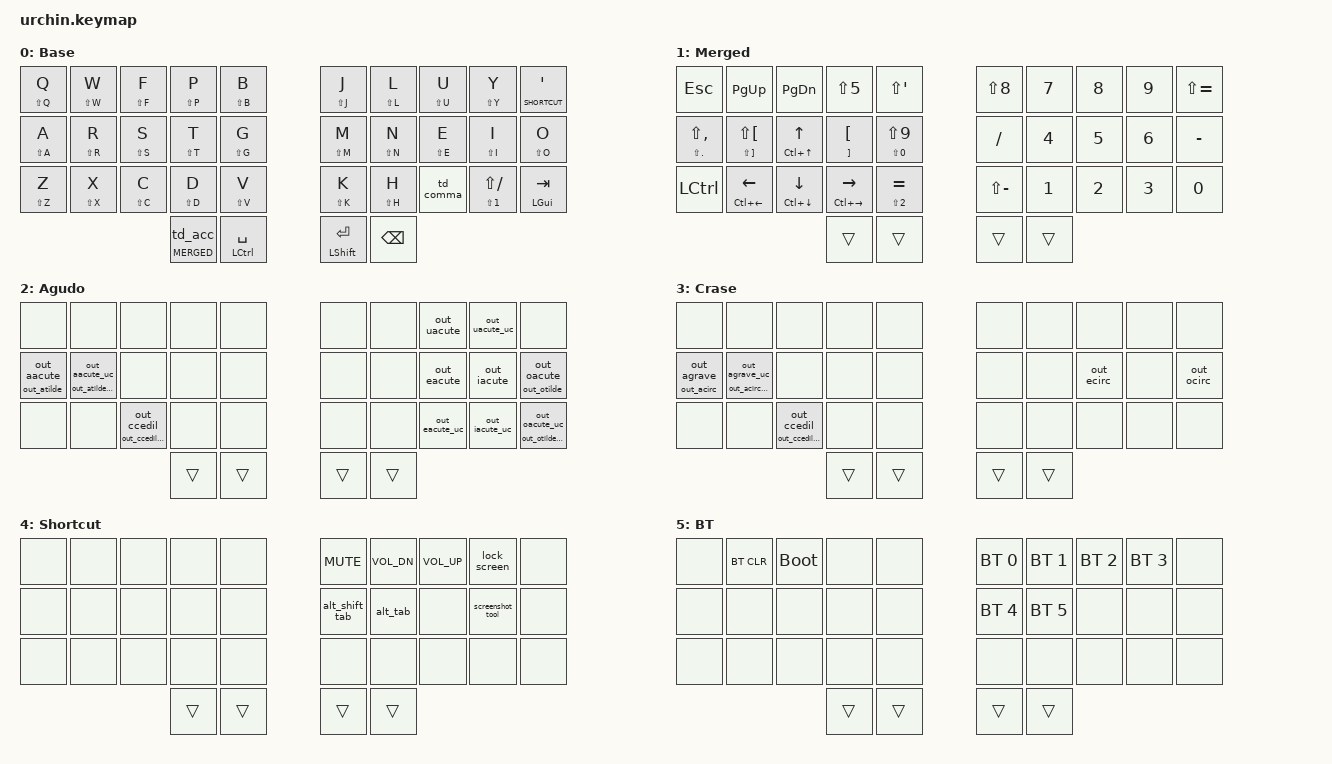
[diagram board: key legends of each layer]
/*
 * Urchin 34-key ZMK keymap (revised)
 * ============================================================
 *
 * Base layout : Colemak-DH
 * Host OS     : Windows
 * Host layout : US-International
 * Language    : Portuguese (Brazil)
 *
 * Layers
 * ------
 * 0  BASE       Colemak-DH alphas
 * 1  MERGED     Nav + Numpad + Symbols (hold left outer thumb)
 * 2  ACC_ACUTE  Agudo / Til          (tap left outer thumb once)
 * 3  ACC_GRAVE  Crase / Circunflexo  (tap left outer thumb twice)
 * 4  SHORTCUT   Media / App switch   (hold apostrophe)
 * 5  BT         Bluetooth settings   (both left thumbs combo)
 *
 * Thumb cluster
 * -------------
 * Left outer  : tap 1x → sticky ACC_ACUTE
 *               tap 2x → sticky ACC_GRAVE
 *               hold   → momentary Merged
 * Left inner  : tap → Space  | hold → Ctrl
 * Right inner : tap → Enter  | hold → Shift
 * Right outer : Backspace (plain, repeatable)
 *
 * Shortcut layer (hold apostrophe + key)
 * ---------------------------------------
 * ' + J  → Mute
 * ' + L  → Volume Down
 * ' + U  → Volume Up
 * ' + Y  → Lock Screen
 * ' + I  → Screenshot
 * ' + M  → Alt+Shift+Tab (app left)
 * ' + N  → Alt+Tab (app right)
 */

#include <behaviors.dtsi>
#include <dt-bindings/zmk/keys.h>
#include <dt-bindings/zmk/bt.h>

#define BASE      0
#define MERGED    1
#define ACC_ACUTE 2
#define ACC_GRAVE 3
#define SHORTCUT  4
#define BT        5

/ {

    behaviors {

        /* ---- Thumb behaviours ---- */

        /* Tap-dance for accent layers */
        td_acc: td_acc {
            compatible = "zmk,behavior-tap-dance";
            #binding-cells = <0>;
            tapping-term-ms = <220>;
            bindings = <&sl ACC_ACUTE>, <&sl ACC_GRAVE>;
        };

        /* Left outer thumb: hold → mo MERGED, tap → td_acc */
        thumb_layer_accent: thumb_layer_accent {
            compatible = "zmk,behavior-hold-tap";
            #binding-cells = <2>;
            flavor = "tap-preferred";
            tapping-term-ms = <220>;
            quick-tap-ms = <180>;
            bindings = <&mo>, <&td_acc>;
        };

        /* Generic kp hold-tap (thumbs, symbols, brackets, arrows) */
        sym_ht: sym_ht {
            compatible = "zmk,behavior-hold-tap";
            #binding-cells = <2>;
            flavor = "tap-preferred";
            tapping-term-ms = <220>;
            quick-tap-ms = <180>;
            bindings = <&kp>, <&kp>;
        };

        /* Tap-dance for comma: tap → comma/period ht, double-tap → semicolon */
        td_comma: td_comma {
            compatible = "zmk,behavior-tap-dance";
            #binding-cells = <0>;
            tapping-term-ms = <220>;
            bindings = <&sym_ht DOT COMMA>, <&kp SEMI>;
        };

        /* ---- Alpha hold-tap (260 ms) ---- */

        alpha_up: alpha_up {
            compatible = "zmk,behavior-hold-tap";
            #binding-cells = <2>;
            flavor = "tap-preferred";
            tapping-term-ms = <260>;
            quick-tap-ms = <180>;
            bindings = <&kp>, <&kp>;
        };

        /* ---- Accent-layer hold-taps (260 ms) ---- */

        /* ACC_ACUTE  A pos 10 : tap á  | hold ã */
        ht_a_agudo: ht_a_agudo {
            compatible = "zmk,behavior-hold-tap";
            #binding-cells = <2>;
            flavor = "tap-preferred";
            tapping-term-ms = <260>;
            quick-tap-ms = <180>;
            bindings = <&out_atilde>, <&out_aacute>;
        };

        /* ACC_ACUTE  R pos 11 : tap Á  | hold Ã */
        ht_a_agudo_uc: ht_a_agudo_uc {
            compatible = "zmk,behavior-hold-tap";
            #binding-cells = <2>;
            flavor = "tap-preferred";
            tapping-term-ms = <260>;
            quick-tap-ms = <180>;
            bindings = <&out_atilde_uc>, <&out_aacute_uc>;
        };

        /* ACC_ACUTE  O pos 19 : tap ó  | hold õ */
        ht_o_agudo: ht_o_agudo {
            compatible = "zmk,behavior-hold-tap";
            #binding-cells = <2>;
            flavor = "tap-preferred";
            tapping-term-ms = <260>;
            quick-tap-ms = <180>;
            bindings = <&out_otilde>, <&out_oacute>;
        };

        /* ACC_ACUTE  pos 29 : tap Ó  | hold Õ */
        ht_o_agudo_uc: ht_o_agudo_uc {
            compatible = "zmk,behavior-hold-tap";
            #binding-cells = <2>;
            flavor = "tap-preferred";
            tapping-term-ms = <260>;
            quick-tap-ms = <180>;
            bindings = <&out_otilde_uc>, <&out_oacute_uc>;
        };

        /* ACC_GRAVE  A pos 10 : tap à  | hold â */
        ht_a_crase: ht_a_crase {
            compatible = "zmk,behavior-hold-tap";
            #binding-cells = <2>;
            flavor = "tap-preferred";
            tapping-term-ms = <260>;
            quick-tap-ms = <180>;
            bindings = <&out_acirc>, <&out_agrave>;
        };

        /* ACC_GRAVE  R pos 11 : tap À  | hold Â */
        ht_a_crase_uc: ht_a_crase_uc {
            compatible = "zmk,behavior-hold-tap";
            #binding-cells = <2>;
            flavor = "tap-preferred";
            tapping-term-ms = <260>;
            quick-tap-ms = <180>;
            bindings = <&out_acirc_uc>, <&out_agrave_uc>;
        };

        /* Both accent layers  C : tap ç  | hold Ç */
        ht_c_cedil: ht_c_cedil {
            compatible = "zmk,behavior-hold-tap";
            #binding-cells = <2>;
            flavor = "tap-preferred";
            tapping-term-ms = <260>;
            quick-tap-ms = <180>;
            bindings = <&out_ccedil_uc>, <&out_ccedil>;
        };
    };

    /* ============================================================
     *  MACROS
     * ============================================================ */
    macros {

        /* ---- Utility ---- */

        screenshot_tool: screenshot_tool {
            compatible = "zmk,behavior-macro";
            #binding-cells = <0>;
            wait-ms = <20>;
            tap-ms = <20>;
            bindings
                = <&macro_press &kp LGUI>
                , <&macro_press &kp LSHIFT>
                , <&macro_tap &kp S>
                , <&macro_release &kp LSHIFT>
                , <&macro_release &kp LGUI>
                ;
        };

        lock_screen: lock_screen {
            compatible = "zmk,behavior-macro";
            #binding-cells = <0>;
            wait-ms = <20>;
            tap-ms = <20>;
            bindings
                = <&macro_press &kp LGUI>
                , <&macro_tap &kp L>
                , <&macro_release &kp LGUI>
                ;
        };

        alt_tab: alt_tab {
            compatible = "zmk,behavior-macro";
            #binding-cells = <0>;
            wait-ms = <20>;
            tap-ms = <20>;
            bindings
                = <&macro_press &kp LALT>
                , <&macro_tap &kp TAB>
                , <&macro_release &kp LALT>
                ;
        };

        alt_shift_tab: alt_shift_tab {
            compatible = "zmk,behavior-macro";
            #binding-cells = <0>;
            wait-ms = <20>;
            tap-ms = <20>;
            bindings
                = <&macro_press &kp LALT>
                , <&macro_press &kp LSHIFT>
                , <&macro_tap &kp TAB>
                , <&macro_release &kp LSHIFT>
                , <&macro_release &kp LALT>
                ;
        };

        /* ---- Alt-code accents ---- */

        /* à  Alt+0224 */
        out_agrave: out_agrave {
            compatible = "zmk,behavior-macro";
            #binding-cells = <0>;
            wait-ms = <25>;
            tap-ms = <25>;
            bindings
                = <&macro_press &kp LALT>
                , <&macro_tap &kp KP_N0 &kp KP_N2 &kp KP_N2 &kp KP_N4>
                , <&macro_release &kp LALT>
                ;
        };

        /* À  Alt+0192 */
        out_agrave_uc: out_agrave_uc {
            compatible = "zmk,behavior-macro";
            #binding-cells = <0>;
            wait-ms = <25>;
            tap-ms = <25>;
            bindings
                = <&macro_press &kp LALT>
                , <&macro_tap &kp KP_N0 &kp KP_N1 &kp KP_N9 &kp KP_N2>
                , <&macro_release &kp LALT>
                ;
        };

        /* á  Alt+0225 */
        out_aacute: out_aacute {
            compatible = "zmk,behavior-macro";
            #binding-cells = <0>;
            wait-ms = <25>;
            tap-ms = <25>;
            bindings
                = <&macro_press &kp LALT>
                , <&macro_tap &kp KP_N0 &kp KP_N2 &kp KP_N2 &kp KP_N5>
                , <&macro_release &kp LALT>
                ;
        };

        /* Á  Alt+0193 */
        out_aacute_uc: out_aacute_uc {
            compatible = "zmk,behavior-macro";
            #binding-cells = <0>;
            wait-ms = <25>;
            tap-ms = <25>;
            bindings
                = <&macro_press &kp LALT>
                , <&macro_tap &kp KP_N0 &kp KP_N1 &kp KP_N9 &kp KP_N3>
                , <&macro_release &kp LALT>
                ;
        };

        /* â  Alt+0226 */
        out_acirc: out_acirc {
            compatible = "zmk,behavior-macro";
            #binding-cells = <0>;
            wait-ms = <25>;
            tap-ms = <25>;
            bindings
                = <&macro_press &kp LALT>
                , <&macro_tap &kp KP_N0 &kp KP_N2 &kp KP_N2 &kp KP_N6>
                , <&macro_release &kp LALT>
                ;
        };

        /* Â  Alt+0194 */
        out_acirc_uc: out_acirc_uc {
            compatible = "zmk,behavior-macro";
            #binding-cells = <0>;
            wait-ms = <25>;
            tap-ms = <25>;
            bindings
                = <&macro_press &kp LALT>
                , <&macro_tap &kp KP_N0 &kp KP_N1 &kp KP_N9 &kp KP_N4>
                , <&macro_release &kp LALT>
                ;
        };

        /* ã  Alt+0227 */
        out_atilde: out_atilde {
            compatible = "zmk,behavior-macro";
            #binding-cells = <0>;
            wait-ms = <25>;
            tap-ms = <25>;
            bindings
                = <&macro_press &kp LALT>
                , <&macro_tap &kp KP_N0 &kp KP_N2 &kp KP_N2 &kp KP_N7>
                , <&macro_release &kp LALT>
                ;
        };

        /* Ã  Alt+0195 */
        out_atilde_uc: out_atilde_uc {
            compatible = "zmk,behavior-macro";
            #binding-cells = <0>;
            wait-ms = <25>;
            tap-ms = <25>;
            bindings
                = <&macro_press &kp LALT>
                , <&macro_tap &kp KP_N0 &kp KP_N1 &kp KP_N9 &kp KP_N5>
                , <&macro_release &kp LALT>
                ;
        };

        /* ç  Alt+0231 */
        out_ccedil: out_ccedil {
            compatible = "zmk,behavior-macro";
            #binding-cells = <0>;
            wait-ms = <25>;
            tap-ms = <25>;
            bindings
                = <&macro_press &kp LALT>
                , <&macro_tap &kp KP_N0 &kp KP_N2 &kp KP_N3 &kp KP_N1>
                , <&macro_release &kp LALT>
                ;
        };

        /* Ç  Alt+0199 */
        out_ccedil_uc: out_ccedil_uc {
            compatible = "zmk,behavior-macro";
            #binding-cells = <0>;
            wait-ms = <25>;
            tap-ms = <25>;
            bindings
                = <&macro_press &kp LALT>
                , <&macro_tap &kp KP_N0 &kp KP_N1 &kp KP_N9 &kp KP_N9>
                , <&macro_release &kp LALT>
                ;
        };

        /* é  Alt+0233 */
        out_eacute: out_eacute {
            compatible = "zmk,behavior-macro";
            #binding-cells = <0>;
            wait-ms = <25>;
            tap-ms = <25>;
            bindings
                = <&macro_press &kp LALT>
                , <&macro_tap &kp KP_N0 &kp KP_N2 &kp KP_N3 &kp KP_N3>
                , <&macro_release &kp LALT>
                ;
        };

        /* É  Alt+0201 */
        out_eacute_uc: out_eacute_uc {
            compatible = "zmk,behavior-macro";
            #binding-cells = <0>;
            wait-ms = <25>;
            tap-ms = <25>;
            bindings
                = <&macro_press &kp LALT>
                , <&macro_tap &kp KP_N0 &kp KP_N2 &kp KP_N0 &kp KP_N1>
                , <&macro_release &kp LALT>
                ;
        };

        /* ê  Alt+0234 */
        out_ecirc: out_ecirc {
            compatible = "zmk,behavior-macro";
            #binding-cells = <0>;
            wait-ms = <25>;
            tap-ms = <25>;
            bindings
                = <&macro_press &kp LALT>
                , <&macro_tap &kp KP_N0 &kp KP_N2 &kp KP_N3 &kp KP_N4>
                , <&macro_release &kp LALT>
                ;
        };

        /* Ê  Alt+0202 */
        out_ecirc_uc: out_ecirc_uc {
            compatible = "zmk,behavior-macro";
            #binding-cells = <0>;
            wait-ms = <25>;
            tap-ms = <25>;
            bindings
                = <&macro_press &kp LALT>
                , <&macro_tap &kp KP_N0 &kp KP_N2 &kp KP_N0 &kp KP_N2>
                , <&macro_release &kp LALT>
                ;
        };

        /* í  Alt+0237 */
        out_iacute: out_iacute {
            compatible = "zmk,behavior-macro";
            #binding-cells = <0>;
            wait-ms = <25>;
            tap-ms = <25>;
            bindings
                = <&macro_press &kp LALT>
                , <&macro_tap &kp KP_N0 &kp KP_N2 &kp KP_N3 &kp KP_N7>
                , <&macro_release &kp LALT>
                ;
        };

        /* Í  Alt+0205 */
        out_iacute_uc: out_iacute_uc {
            compatible = "zmk,behavior-macro";
            #binding-cells = <0>;
            wait-ms = <25>;
            tap-ms = <25>;
            bindings
                = <&macro_press &kp LALT>
                , <&macro_tap &kp KP_N0 &kp KP_N2 &kp KP_N0 &kp KP_N5>
                , <&macro_release &kp LALT>
                ;
        };

        /* ó  Alt+0243 */
        out_oacute: out_oacute {
            compatible = "zmk,behavior-macro";
            #binding-cells = <0>;
            wait-ms = <25>;
            tap-ms = <25>;
            bindings
                = <&macro_press &kp LALT>
                , <&macro_tap &kp KP_N0 &kp KP_N2 &kp KP_N4 &kp KP_N3>
                , <&macro_release &kp LALT>
                ;
        };

        /* Ó  Alt+0211 */
        out_oacute_uc: out_oacute_uc {
            compatible = "zmk,behavior-macro";
            #binding-cells = <0>;
            wait-ms = <25>;
            tap-ms = <25>;
            bindings
                = <&macro_press &kp LALT>
                , <&macro_tap &kp KP_N0 &kp KP_N2 &kp KP_N1 &kp KP_N1>
                , <&macro_release &kp LALT>
                ;
        };

        /* õ  Alt+0245 */
        out_otilde: out_otilde {
            compatible = "zmk,behavior-macro";
            #binding-cells = <0>;
            wait-ms = <25>;
            tap-ms = <25>;
            bindings
                = <&macro_press &kp LALT>
                , <&macro_tap &kp KP_N0 &kp KP_N2 &kp KP_N4 &kp KP_N5>
                , <&macro_release &kp LALT>
                ;
        };

        /* Õ  Alt+0213 */
        out_otilde_uc: out_otilde_uc {
            compatible = "zmk,behavior-macro";
            #binding-cells = <0>;
            wait-ms = <25>;
            tap-ms = <25>;
            bindings
                = <&macro_press &kp LALT>
                , <&macro_tap &kp KP_N0 &kp KP_N2 &kp KP_N1 &kp KP_N3>
                , <&macro_release &kp LALT>
                ;
        };

        /* ô  Alt+0244 */
        out_ocirc: out_ocirc {
            compatible = "zmk,behavior-macro";
            #binding-cells = <0>;
            wait-ms = <25>;
            tap-ms = <25>;
            bindings
                = <&macro_press &kp LALT>
                , <&macro_tap &kp KP_N0 &kp KP_N2 &kp KP_N4 &kp KP_N4>
                , <&macro_release &kp LALT>
                ;
        };

        /* Ô  Alt+0212 */
        out_ocirc_uc: out_ocirc_uc {
            compatible = "zmk,behavior-macro";
            #binding-cells = <0>;
            wait-ms = <25>;
            tap-ms = <25>;
            bindings
                = <&macro_press &kp LALT>
                , <&macro_tap &kp KP_N0 &kp KP_N2 &kp KP_N1 &kp KP_N2>
                , <&macro_release &kp LALT>
                ;
        };

        /* ú  Alt+0250 */
        out_uacute: out_uacute {
            compatible = "zmk,behavior-macro";
            #binding-cells = <0>;
            wait-ms = <25>;
            tap-ms = <25>;
            bindings
                = <&macro_press &kp LALT>
                , <&macro_tap &kp KP_N0 &kp KP_N2 &kp KP_N5 &kp KP_N0>
                , <&macro_release &kp LALT>
                ;
        };

        /* Ú  Alt+0218 */
        out_uacute_uc: out_uacute_uc {
            compatible = "zmk,behavior-macro";
            #binding-cells = <0>;
            wait-ms = <25>;
            tap-ms = <25>;
            bindings
                = <&macro_press &kp LALT>
                , <&macro_tap &kp KP_N0 &kp KP_N2 &kp KP_N1 &kp KP_N8>
                , <&macro_release &kp LALT>
                ;
        };
    };

    /* ============================================================
     *  COMBOS
     * ============================================================ */
    combos {
        compatible = "zmk,combos";

        /* Colon — comma (27) + ? (28) */
        combo_colon {
            timeout-ms = <40>;
            require-prior-idle-ms = <100>;
            key-positions = <27 28>;
            bindings = <&kp LS(SEMI)>;
            layers = <BASE>;
        };

        /* Caps Word — Z (20) + R (11) */
        combo_caps_word {
            timeout-ms = <40>;
            require-prior-idle-ms = <100>;
            key-positions = <20 11>;
            bindings = <&caps_word>;
            layers = <BASE>;
        };

        /* BT layer — both left thumbs (30 + 31) */
        combo_bt_momentary {
            timeout-ms = <50>;
            require-prior-idle-ms = <80>;
            key-positions = <30 31>;
            bindings = <&mo BT>;
        };
    };

    /* ============================================================
     *  KEYMAP
     * ============================================================ */
    keymap {
        compatible = "zmk,keymap";

        /* --------------------------------------------------------
         *  BASE — Colemak-DH
         * --------------------------------------------------------
         *  Q  W  F  P  B  |  J  L  U  Y  '/SHORTCUT
         *  A  R  S  T  G  |  M  N  E  I  O
         *  Z  X  C  D  V  |  K  H  ,. ?! Tab/Win
         *   [ACC/MERGED] [SPC/Ctrl] | [ENT/Shft] [BSPC]
         * ------------------------------------------------------ */
        base_layer {
            display-name = "Base";
            bindings = <
                &alpha_up LS(Q) Q    &alpha_up LS(W) W    &alpha_up LS(F) F    &alpha_up LS(P) P    &alpha_up LS(B) B       &alpha_up LS(J) J    &alpha_up LS(L) L    &alpha_up LS(U) U    &alpha_up LS(Y) Y    &lt SHORTCUT SQT
                &alpha_up LS(A) A    &alpha_up LS(R) R    &alpha_up LS(S) S    &alpha_up LS(T) T    &alpha_up LS(G) G       &alpha_up LS(M) M    &alpha_up LS(N) N    &alpha_up LS(E) E    &alpha_up LS(I) I    &alpha_up LS(O) O
                &alpha_up LS(Z) Z    &alpha_up LS(X) X    &alpha_up LS(C) C    &alpha_up LS(D) D    &alpha_up LS(V) V       &alpha_up LS(K) K    &alpha_up LS(H) H    &td_comma              &sym_ht LS(N1) LS(FSLH)  &sym_ht LGUI TAB
                &thumb_layer_accent MERGED 0              &sym_ht LCTRL SPACE                                                &sym_ht LSHIFT ENTER &kp BSPC
            >;
        };

        /* --------------------------------------------------------
         *  MERGED — Nav + Numpad + Symbols
         * --------------------------------------------------------
         *  Esc  PgUp PgDn  %    "   |  *   7   8   9   +
         *  </>  {/}  ↑/C↑ [/]  (/) |  /   4   5   6   -
         *  Ctrl ←/C← ↓/C↓ →/C→ =/@  |  _   1   2   3   0
         *         [trans]  [trans]   | [trans] [trans]
         * ------------------------------------------------------ */
        merged_layer {
            display-name = "Merged";
            bindings = <
                &kp ESC                      &kp PG_UP                    &kp PG_DN                    &kp LS(N5)                   &kp LS(SQT)                    &kp LS(N8)       &kp N7           &kp N8           &kp N9           &kp LS(EQUAL)
                &sym_ht LS(DOT) LS(COMMA)    &sym_ht LS(RBKT) LS(LBKT)   &sym_ht LC(UP) UP            &sym_ht RBKT LBKT            &sym_ht LS(N0) LS(N9)          &kp FSLH         &kp N4           &kp N5           &kp N6           &kp MINUS
                &kp LCTRL                    &sym_ht LC(LEFT) LEFT        &sym_ht LC(DOWN) DOWN        &sym_ht LC(RIGHT) RIGHT      &sym_ht LS(N2) EQUAL           &kp LS(MINUS)    &kp N1           &kp N2           &kp N3           &kp N0
                &trans                       &trans                                                                                                                 &trans           &trans
            >;
        };

        /* --------------------------------------------------------
         *  ACC_ACUTE — Agudo (tap) / Til (hold)
         * --------------------------------------------------------
         *  .   .   .   .   .  |  .   .   ú   Ú   .
         *  á/ã Á/Ã .   .   .  |  .   .   é   í  ó/õ
         *  .   .   ç/Ç .   .  |  .   .   É   Í  Ó/Õ
         *       [trans] [trans] | [trans] [trans]
         * ------------------------------------------------------ */
        accent_acute_layer {
            display-name = "Agudo";
            bindings = <
                &none                &none                &none                &none                &none                   &none                &none                &out_uacute          &out_uacute_uc       &none
                &ht_a_agudo 0 0      &ht_a_agudo_uc 0 0   &none                &none                &none                   &none                &none                &out_eacute          &out_iacute          &ht_o_agudo 0 0
                &none                &none                &ht_c_cedil 0 0      &none                &none                   &none                &none                &out_eacute_uc       &out_iacute_uc       &ht_o_agudo_uc 0 0
                &trans               &trans                                                                                  &trans               &trans
            >;
        };

        /* --------------------------------------------------------
         *  ACC_GRAVE — Crase (tap) / Circunflexo (hold)
         * --------------------------------------------------------
         *  .    .   .   .   .  |  .   .   .   .   .
         *  à/â À/Â .   .   .  |  .   .   ê   .   ô
         *  .    .  ç/Ç .   .  |  .   .   .   .   .
         *       [trans] [trans] | [trans] [trans]
         * ------------------------------------------------------ */
        accent_grave_layer {
            display-name = "Crase";
            bindings = <
                &none                &none                &none                &none                &none                   &none                &none                &none                &none                &none
                &ht_a_crase 0 0      &ht_a_crase_uc 0 0   &none                &none                &none                   &none                &none                &out_ecirc           &none                &out_ocirc
                &none                &none                &ht_c_cedil 0 0      &none                &none                   &none                &none                &none                &none                &none
                &trans               &trans                                                                                  &trans               &trans
            >;
        };

        /* --------------------------------------------------------
         *  SHORTCUT — Media / App switching (hold apostrophe)
         * --------------------------------------------------------
         *  .   .   .   .   .  |  Mute Vol- Vol+ Lock  .
         *  .   .   .   .   .  |  A+S+T A+T  .  ScrSh  .
         *  .   .   .   .   .  |  .    .    .    .     .
         *       [trans] [trans] | [trans] [trans]
         * ------------------------------------------------------ */
        shortcut_layer {
            display-name = "Shortcut";
            bindings = <
                &none                &none                &none                &none                &none                   &kp C_MUTE           &kp C_VOL_DN         &kp C_VOL_UP         &lock_screen         &none
                &none                &none                &none                &none                &none                   &alt_shift_tab       &alt_tab             &none                &screenshot_tool     &none
                &none                &none                &none                &none                &none                   &none                &none                &none                &none                &none
                &trans               &trans                                                                                  &trans               &trans
            >;
        };

        /* --------------------------------------------------------
         *  BT — Bluetooth settings
         * -------------------------------------------------------- */
        bluetooth_layer {
            display-name = "BT";
            bindings = <
                &none                &bt BT_CLR           &bootloader          &none                &none                   &bt BT_SEL 0         &bt BT_SEL 1         &bt BT_SEL 2         &bt BT_SEL 3         &none
                &none                &none                &none                &none                &none                   &bt BT_SEL 4         &bt BT_SEL 5         &none                &none                &none
                &none                &none                &none                &none                &none                   &none                &none                &none                &none                &none
                &trans               &trans                                                                                  &trans               &trans
            >;
        };
    };
};
